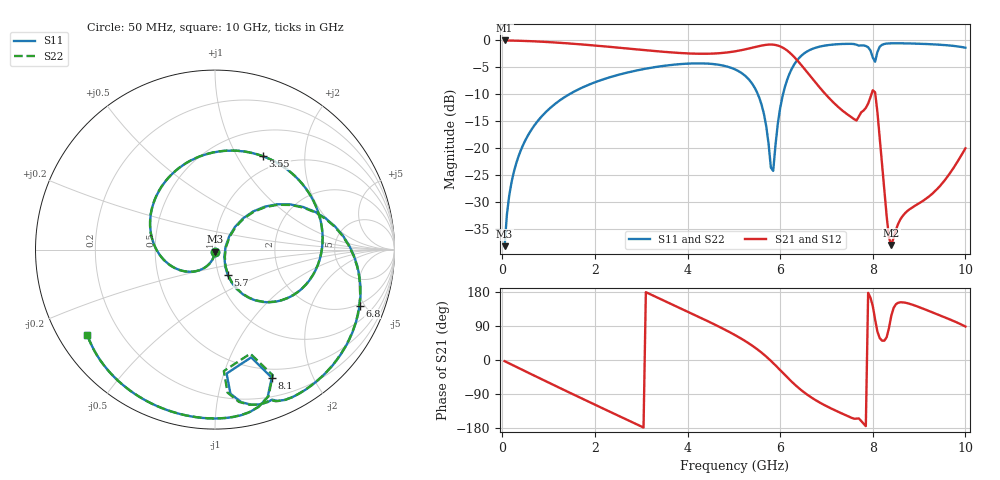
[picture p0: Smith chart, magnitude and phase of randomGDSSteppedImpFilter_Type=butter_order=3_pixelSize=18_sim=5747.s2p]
! freq	dB(S11)	phase(S11)	dB(S12)	phase(S12)
!  dB(S21)	phase(S21)	dB(S22)	phase(S22)
!S-par simulation data
#  GHz  S  DB  R 50
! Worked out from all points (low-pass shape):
!   200 points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, 50 MHz to 10 GHz, reference 50 ohm
!   highest |S21| = -0.01 dB at 50 MHz (marker M1); lowest = -38.0 dB at 8.4 GHz (marker M2)
!   |S21| within 3 dB of the highest: start of sweep to 6.295 GHz
!   lowest |S11| = -38.2 dB at 50 MHz (marker M3), VSWR 1.02, Z = 49.9 - j1.22 ohm
!   |S11| at or under -10 dB: start of sweep to 1.449 GHz; 5.518 GHz to 6.063 GHz (545 MHz wide, 9.41 % of centre)
!   |S22| runs from -38.2 to -0.5 dB; largest |S21 - S12| = 0
!   S11 on the Smith chart (normalised r, x): 50 MHz: 1.00, -0.02; 3.55 GHz: 0.82, +1.29; 5.7 GHz: 1.10, -0.32; 6.8 GHz: 1.88, -4.62; 8.1 GHz: 0.40, -1.46; 10 GHz: 0.08, -0.30
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0.05  -38.25 -91.9  -0.01 -3.0  -0.01 -3.0  -38.24 -91.9
0.2  -26.35 -102.0  -0.03 -12.1  -0.03 -12.1  -26.35 -102.0
0.5  -18.53 -120.4  -0.10 -30.0  -0.10 -30.0  -18.53 -120.3
1.15  -11.73 -159.2  -0.39 -68.4  -0.39 -68.4  -11.73 -159.0
1.75  -8.67 165.7  -0.77 -103.4  -0.77 -103.4  -8.67 165.9
2.6  -6.19 116.6  -1.42 -152.4  -1.42 -152.4  -6.19 116.9
3.4  -4.83 71.2  -2.06 161.9  -2.06 161.9  -4.83 71.4
3.55  -4.66 62.7  -2.16 153.3  -2.16 153.3  -4.66 63.0
4.4  -4.30 14.9  -2.48 104.6  -2.48 104.6  -4.30 15.1
5.05  -5.49 -24.0  -2.00 64.1  -2.00 64.1  -5.48 -23.8
5.7  -15.98 -63.5  -0.82 8.9  -0.82 8.9  -15.93 -62.7
5.85  -24.25 15.5  -0.79 -8.1  -0.79 -8.1  -23.91 14.4
6  -12.60 48.1  -1.11 -26.6  -1.11 -26.6  -12.58 47.3
6.15  -7.34 36.0  -1.87 -45.4  -1.87 -45.4  -7.34 35.5
6.7  -1.56 -14.1  -7.16 -100.9  -7.16 -100.9  -1.56 -14.4
6.8  -1.27 -21.1  -8.21 -108.4  -8.21 -108.4  -1.27 -21.5
7.65  -0.80 -67.6  -14.88 -154.8  -14.88 -154.8  -0.82 -68.2
7.95  -1.86 -83.9  -10.56 164.6  -10.56 164.6  -1.94 -85.0
8.1  -2.15 -66.1  -13.30 75.0  -13.30 75.0  -2.27 -65.3
8.35  -0.56 -83.7  -36.66 84.6  -36.66 84.6  -0.56 -83.7
8.4  -0.54 -86.1  -38.00 116.8  -38.00 116.8  -0.54 -86.1
10  -1.35 -146.1  -20.06 88.4  -20.06 88.4  -1.36 -146.4
